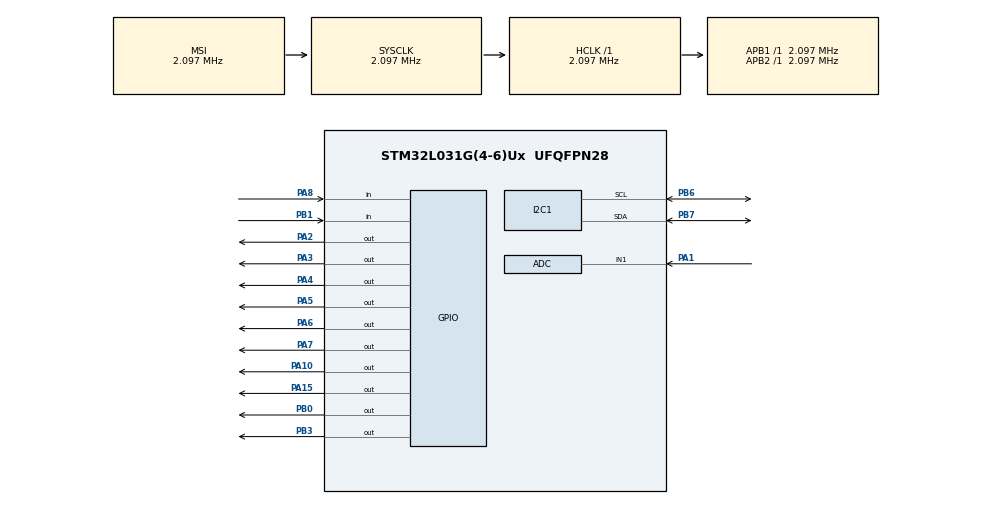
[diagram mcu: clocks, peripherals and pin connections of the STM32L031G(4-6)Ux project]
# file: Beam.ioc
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ADC.ClockPrescaler=ADC_CLOCK_SYNC_PCLK_DIV1
ADC.ContinuousConvMode=ENABLE
ADC.DMAContinuousRequests=DISABLE
ADC.DataAlign=ADC_DATAALIGN_RIGHT
ADC.DiscontinuousConvMode=DISABLE
ADC.EOCSelection=ADC_EOC_SINGLE_CONV
ADC.EnableAnalogWatchDog=false
ADC.ExternalTrigConv=ADC_SOFTWARE_START
ADC.ExternalTrigConvEdge=ADC_EXTERNALTRIGCONVEDGE_NONE
ADC.LowPowerAutoPowerOff=DISABLE
ADC.LowPowerAutoWait=DISABLE
ADC.LowPowerFrequencyMode=DISABLE
ADC.Overrun=ADC_OVR_DATA_PRESERVED
ADC.OversamplingMode=DISABLE
ADC.Resolution=ADC_RESOLUTION_12B
ADC.SamplingTime=ADC_SAMPLETIME_1CYCLE_5
ADC.ScanConvMode=ADC_SCAN_DIRECTION_FORWARD
Mcu.Family=STM32L0
Mcu.Name=STM32L031G(4-6)Ux
Mcu.Package=UFQFPN28
NVIC.ADC1_COMP_IRQn=true\:1\:0\:true\:false\:true\:true
NVIC.TIM2_IRQn=true\:1\:0\:true\:false\:true\:true
PA0-CK_IN.Mode=SYS_WakeUp0
PA0-CK_IN.Signal=SYS_WKUP1
PA1.GPIO_Mode=GPIO_MODE_ANALOG
PA1.GPIO_PuPd=GPIO_NOPULL
PA1.Mode=IN1
PA1.Signal=ADC_IN1
PA10.PinState=GPIO_PIN_SET
PA10.Signal=GPIO_Output
PA13.Mode=Serial_Wire
PA13.Signal=SYS_SWDIO
PA14.Mode=Serial_Wire
PA14.Signal=SYS_SWCLK
PA15.PinState=GPIO_PIN_SET
PA15.Signal=GPIO_Output
PA2.PinState=GPIO_PIN_SET
PA2.Signal=GPIO_Output
PA3.PinState=GPIO_PIN_SET
PA3.Signal=GPIO_Output
PA4.PinState=GPIO_PIN_SET
PA4.Signal=GPIO_Output
PA5.PinState=GPIO_PIN_SET
PA5.Signal=GPIO_Output
PA6.PinState=GPIO_PIN_SET
PA6.Signal=GPIO_Output
PA7.PinState=GPIO_PIN_SET
PA7.Signal=GPIO_Output
PA8.Signal=GPIO_Input
PB0.PinState=GPIO_PIN_SET
PB0.Signal=GPIO_Output
PB1.Signal=GPIO_Input
PB3.PinState=GPIO_PIN_SET
PB3.Signal=GPIO_Output
PB6.GPIO_PuPdOD=GPIO_NOPULL
PB6.Mode=I2C
PB6.Signal=I2C1_SCL
PB7.GPIO_PuPdOD=GPIO_NOPULL
PB7.Mode=I2C
PB7.Signal=I2C1_SDA
ProjectManager.HeapSize=0x200
ProjectManager.StackSize=0x400
ProjectManager.TargetToolchain=SW4STM32
RCC.AHBFreq_Value=2097000
RCC.APB1Freq_Value=2097000
RCC.APB1TimFreq_Value=2097000
RCC.APB2Freq_Value=2097000
RCC.APB2TimFreq_Value=2097000
RCC.HSE_VALUE=8000000
RCC.HSI16_VALUE=16000000
RCC.HSI_VALUE=16000000
RCC.LSE_VALUE=32768
RCC.MSI_VALUE=2097000
RCC.SYSCLKFreq_VALUE=2097000
RCC.VCOOutputFreq_Value=48000000
TIM2.Period=2097-1
TIM2.Prescaler=7500-1
VP_ADC_Vref_Input.Mode=IN-Vrefint
VP_SYS_V_PVD_IN.Mode=Mode_PVD_Int
VP_TIM21_VS_ClockSourceINT.Mode=Internal
VP_TIM2_VS_ClockSourceINT.Mode=Internal
board=custom

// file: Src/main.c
#include "main.h"
#include "stm32l0xx_hal.h"

/* USER CODE BEGIN Includes */
#include <stdbool.h>
#include <math.h>
/* USER CODE END Includes */

ADC_HandleTypeDef hadc;

I2C_HandleTypeDef hi2c1;

TIM_HandleTypeDef htim2;
TIM_HandleTypeDef htim21;

/* USER CODE BEGIN PV */
/* Private variables ---------------------------------------------------------*/
static FLASH_EraseInitTypeDef EraseInitStruct;
/* USER CODE END PV */

void SystemClock_Config(void);
static void MX_GPIO_Init(void);
static void MX_I2C1_Init(void);
static void MX_TIM2_Init(void);
static void MX_ADC_Init(void);
static void MX_TIM21_Init(void);

/* USER CODE BEGIN PFP */
/* Private function prototypes -----------------------------------------------*/
void Flash_Write(uint32_t Flash_Address, uint32_t Flash_Data);
uint32_t Flash_Read(uint32_t Flash_Address);

/* USER CODE END PFP */

/* USER CODE BEGIN 0 */
#define EEPROM_ADDRESS 0x08080000
#define I2C_ADDRESS 0x40
#define PI (3.141592653589793)

#define FLASH_USER_START_ADDR   (0x08080000 )             /* Start @ of user Flash area */
#define FLASH_USER_END_ADDR     (FLASH_USER_START_ADDR + 1023)   /* End @ of user Flash area */

/********************
 * Charging States
 *******************/
#define charging_state 0
#define cleaning_state 1
#define manual_state 2

volatile uint8_t transferDirection, transferRequested;
uint16_t hTxNumData = 0, hRxNumData = 0;

uint32_t Address = 0x08080000, PAGEError = 0;
__IO uint32_t data32 = 0 , MemoryProgramStatus = 0;

int targetDeviceReady = 0;
bool TxEnded = false;
bool RxEnded = false;
bool I2CFound = false;

bool chargeComplete = 0;
bool chargeSatisfactory;

bool ledON = false;

int current_state = 1;

int batteryVoltage;

/************************
 * Register definitions
 ************************/
//register shit
static const uint8_t REG_CONFIG = 0x00;
static const uint8_t REG_CNTRL1 = 0x01;
static const uint8_t REG_CNTRL2 = 0x02;

// LED controller channels
static const uint8_t REG_D0_CTRL = 0x07;
static const uint8_t REG_D1_CTRL = 0x08;
static const uint8_t REG_D2_CTRL = 0x09;
static const uint8_t REG_D3_CTRL = 0x0a;
static const uint8_t REG_D4_CTRL = 0x0b;
static const uint8_t REG_D5_CTRL = 0x0c;
static const uint8_t REG_D6_CTRL = 0x0d;
static const uint8_t REG_D7_CTRL = 0x0e;
static const uint8_t REG_D8_CTRL = 0x0f;

// Direct PWM control registers
static const uint8_t REG_D0_PWM  = 0x16;
static const uint8_t REG_D1_PWM  = 0x17;
static const uint8_t REG_D2_PWM  = 0x18;
static const uint8_t REG_D3_PWM  = 0x19;
static const uint8_t REG_D4_PWM  = 0x1a;
static const uint8_t REG_D5_PWM  = 0x1b;
static const uint8_t REG_D6_PWM  = 0x1c;
static const uint8_t REG_D7_PWM  = 0x1d;
static const uint8_t REG_D8_PWM  = 0x1e;

// Drive current registers
static const uint8_t REG_D0_I_CTL = 0x22;
static const uint8_t REG_D1_I_CTL  = 0x23;
static const uint8_t REG_D2_I_CTL  = 0x24;
static const uint8_t REG_D3_I_CTL  = 0x25;
static const uint8_t REG_D4_I_CTL  = 0x26;
static const uint8_t REG_D5_I_CTL  = 0x27;
static const uint8_t REG_D6_I_CTL  = 0x28;
static const uint8_t REG_D7_I_CTL  = 0x29;
static const uint8_t REG_D8_I_CTL  = 0x2A;

//Charge Pump and friends
static const uint8_t REG_MISC = 0x2F;
static const uint8_t REG_PC1      = 0x30;
static const uint8_t REG_PC2      = 0x31;
static const uint8_t REG_PC3      = 0x32;
static const uint8_t REG_MISC_2 = 0x33;
static const uint8_t REG_STATUS_IRQ = 0x3C;
static const uint8_t REG_INT_GPIO   = 0x3D;
static const uint8_t REG_GLOBAL_VAR = 0x3E;
static const uint8_t REG_RESET      = 0x3F;

static const uint8_t REG_ENGINE_A_VAR = 0x42;
static const uint8_t REG_ENGINE_B_VAR = 0x43;
static const uint8_t REG_ENGINE_C_VAR = 0x44;

static const uint8_t REG_MASTER_FADE_1 = 0x46;
static const uint8_t REG_MASTER_FADE_2 = 0x47;
static const uint8_t REG_MASTER_FADE_3 = 0x48;
static const uint8_t  REG_MASTER_FADE_PWM = 0x4A;

static const uint8_t REG_PROG1_START = 0x4B;
static const uint8_t REG_PROG2_START = 0x4C;
static const uint8_t REG_PROG3_START = 0x4D;
static const uint8_t REG_PROG_PAGE_SEL = 0x4F;

// Memory is more confusing - there are 6 pages, sel by addr 4f
static const uint8_t REG_PROG_MEM_BASE = 0x50;
//static const uint8_t REG_PROG_MEM_SIZE = 0x;//
static const uint8_t REG_PROG_MEM_END  = 0x6f;

static const uint8_t REG_ENG1_MAP_MSB = 0x70;
static const uint8_t REG_ENG1_MAP_LSB = 0x71;
static const uint8_t REG_ENG2_MAP_MSB = 0x72;
static const uint8_t REG_ENG2_MAP_LSB = 0x73;
static const uint8_t REG_ENG3_MAP_MSB = 0x74;
static const uint8_t REG_ENG3_MAP_LSB = 0x75;

static const uint8_t REG_GAIN_CHANGE = 0x76;
static const uint8_t PWM_CONFIG = 0x80;

/********************
 * i2c Buffer address
 *******************/
uint8_t aTxBuffer[2];
uint8_t aRxBuffer[1];
int Run;

bool button = 0;
volatile uint32_t counter = 0;

uint32_t button_processed = 0, lastDebounceTime;

uint32_t minimalTime = 3000;
uint32_t cleanTime = 5000;
int delayTime = 7500;
bool buttonHoldBreak = false;

uint32_t data;

bool buttonPressed = false;
/* USER CODE END 0 */

int main(void)
{

  /* MCU Configuration----------------------------------------------------------*/

  /* Reset of all peripherals, Initializes the Flash interface and the Systick. */
  HAL_Init();

  /* Configure the system clock */
  SystemClock_Config();

  /* USER CODE BEGIN SysInit */
	__HAL_RCC_PWR_CLK_ENABLE();
	HAL_PWREx_EnableUltraLowPower();
	HAL_PWREx_EnableFastWakeUp();
	__HAL_RCC_TIM2_CLK_ENABLE();
	__HAL_RCC_TIM21_CLK_ENABLE();

  /* USER CODE END SysInit */

  /* Initialize all configured peripherals */
  MX_GPIO_Init();
  MX_I2C1_Init();
  MX_TIM2_Init();
  MX_ADC_Init();
  MX_TIM21_Init();
  /* USER CODE BEGIN 2 */
  int countPress = 0;
  buttonHoldBreak = false;
  /* USER CODE END 2 */

  /* Infinite loop */
  /* USER CODE BEGIN WHILE */
  while (1)
  {
	  while (__HAL_PWR_GET_FLAG(PWR_FLAG_SB) != RESET)
	  {
		  /* Clear Standby flag */
		  __HAL_PWR_CLEAR_FLAG(PWR_FLAG_SB);

		  //current_state = Flash_Read(Address);
		  if(isCharging() == 1){
			  current_state = charging_state;
		  }
	  }

	  GPIO_InitTypeDef GPIO_InitStruct;
	  GPIO_InitStruct.Pin = GPIO_PIN_0;
	  GPIO_InitStruct.Mode = GPIO_MODE_INPUT;
	  GPIO_InitStruct.Pull = GPIO_NOPULL;
	  HAL_GPIO_Init(GPIOA, &GPIO_InitStruct);
	  HAL_Delay(10);

	  if((HAL_GPIO_ReadPin(GPIOA, GPIO_PIN_0) == SET)){
		  int startTime = HAL_GetTick();
		  while(((HAL_GetTick() - startTime) < minimalTime+500) && (HAL_GPIO_ReadPin(GPIOA, GPIO_PIN_0) == SET)){
			  if(((HAL_GetTick() - startTime) > minimalTime) && (HAL_GPIO_ReadPin(GPIOA, GPIO_PIN_0) == SET)){
			  			  if(current_state == cleaning_state){
			  				  current_state = manual_state;
			  			  } else if (current_state == manual_state){
			  				  current_state = cleaning_state;
			  			  }
			  			  break;
			  		  }
		  }

	  }

	  switch(current_state){
	  case 0: {
		  int isChargingInt = isCharging();
		  int isChargeSatisfactoryInt = isChargeSatisfactory();

		  //charging
		  if (isChargingInt == 0 & isChargeSatisfactoryInt == 1) {
			  ledOff();
			  Disable();
			  HAL_GPIO_WritePin(GPIOA, GPIO_PIN_4|GPIO_PIN_5|GPIO_PIN_6, GPIO_PIN_RESET);
			  m_disable();
			  led_disable();
			  boost_disable();
			  current_state = cleaning_state;
			  Flash_Write(EEPROM_ADDRESS,current_state);

		  }
		  else if (isChargingInt == 1 && isChargeSatisfactoryInt == 0) {
				  //boost_enable();
				  LED_Enable();
				  ledCharge();
		  }
		  else if (isChargingInt == 1 && isChargeSatisfactoryInt == 1) {
				  ledOff();
				  Disable();
				  HAL_GPIO_WritePin(GPIOA, GPIO_PIN_4|GPIO_PIN_5|GPIO_PIN_6, GPIO_PIN_RESET);
				  m_disable();
				  led_disable();
				  boost_disable();
				  StandbyMode();
				  //Flash_Write(EEPROM_ADDRESS,current_state);
			  }
	  }
	  break;
	  case 1:{
		  //cleaning
//		  GPIO_InitTypeDef GPIO_InitStruct;
//		  GPIO_InitStruct.Pin = GPIO_PIN_0;
//		  GPIO_InitStruct.Mode = GPIO_MODE_INPUT;
//		  GPIO_InitStruct.Pull = GPIO_NOPULL;
//		  HAL_GPIO_Init(GPIOA, &GPIO_InitStruct);
		  int isChargingInt = isCharging();
		  int isChargeSatisfactoryInt = isChargeSatisfactory();

		  if(isChargingInt == 1){
			  current_state = charging_state;
		  }
		  if(isChargeSatisfactoryInt == 0){
			  LED_Enable();
			  redFlickerBeat(255);
		  }
		  if ((HAL_GPIO_ReadPin(GPIOA, GPIO_PIN_0) == SET) && isChargeSatisfactoryInt == 1){
			  int startTime;
			  boost_enable();
			  LED_Enable();
			  for(int i = 0; i < 4; i++){
				  startTime = HAL_GetTick();
				  while((HAL_GetTick() - startTime) < delayTime){

					  loadingAnimationTopCW(90); // replace with direction function for LEDs
					  HAL_GPIO_WritePin(GPIOA, GPIO_PIN_4|GPIO_PIN_5|GPIO_PIN_6, GPIO_PIN_RESET); //Motor reset
					  m_enable();
					  HAL_GPIO_WritePin(GPIOA, GPIO_PIN_4|GPIO_PIN_5|GPIO_PIN_6, GPIO_PIN_SET); //Motor ON
				  }
				  if((HAL_GetTick() - startTime) > delayTime){
					  ledOff();
					  //Disable();
					  HAL_GPIO_WritePin(GPIOA, GPIO_PIN_4|GPIO_PIN_5|GPIO_PIN_6, GPIO_PIN_RESET);
					  m_disable();
					  //led_disable();
					  HAL_Delay(1500);
				  }

			  }
		  }
		  if(HAL_GPIO_ReadPin(GPIOA,GPIO_PIN_0)== RESET ){

			  ledOff();
			  Disable();
			  HAL_GPIO_WritePin(GPIOA, GPIO_PIN_4|GPIO_PIN_5|GPIO_PIN_6, GPIO_PIN_RESET);
			  m_disable();
			  boost_disable();
			  Flash_Write(EEPROM_ADDRESS,current_state);
			  StandbyMode();
		  }
	  }
	  break;
	  case 2:{
		  //manual mode
//		  int startTime = HAL_GetTick();
//		  if(((HAL_GetTick() - startTime) < minimalTime+2000) && (HAL_GPIO_ReadPin(GPIOA, GPIO_PIN_0) == SET)){
//			  //			  if(current_state == cleaning_state){
//			  //				  current_state = manual_state;
//			  //			  }
//			  if(current_state == manual_state){
//				  current_state = cleaning_state;
//			  }
//			  if((HAL_GPIO_ReadPin(GPIOA, GPIO_PIN_0) == SET))
//			  break;
//		  }

		  bool clicked = false;
		  while (HAL_GPIO_ReadPin(GPIOA, GPIO_PIN_0) == RESET ){
			  LED_Enable();
			  ledBreathe2(90,50);
			  //redFlickerBeat(90,0);
			  uint16_t val = getBatteryVoltage();
//			  if(HAL_GPIO_ReadPin(GPIOA, GPIO_PIN_0) == SET){
//			  clicked = true;
//			  break;
//			  }
		  }
		  Flash_Write(EEPROM_ADDRESS,current_state);
				  StandbyMode();

//		  while(clicked == true){
//
//		  }

	  }

	  }
  }

  /* USER CODE END WHILE */

}

void SystemClock_Config(void)
{

  RCC_OscInitTypeDef RCC_OscInitStruct;
  RCC_ClkInitTypeDef RCC_ClkInitStruct;
  RCC_PeriphCLKInitTypeDef PeriphClkInit;

    /**Configure the main internal regulator output voltage
    */
  __HAL_PWR_VOLTAGESCALING_CONFIG(PWR_REGULATOR_VOLTAGE_SCALE1);

    /**Initializes the CPU, AHB and APB busses clocks
    */
  RCC_OscInitStruct.OscillatorType = RCC_OSCILLATORTYPE_MSI;
  RCC_OscInitStruct.MSIState = RCC_MSI_ON;
  RCC_OscInitStruct.MSICalibrationValue = 0;
  RCC_OscInitStruct.MSIClockRange = RCC_MSIRANGE_5;
  RCC_OscInitStruct.PLL.PLLState = RCC_PLL_NONE;
  if (HAL_RCC_OscConfig(&RCC_OscInitStruct) != HAL_OK)
  {
    _Error_Handler(__FILE__, __LINE__);
  }

    /**Initializes the CPU, AHB and APB busses clocks
    */
  RCC_ClkInitStruct.ClockType = RCC_CLOCKTYPE_HCLK|RCC_CLOCKTYPE_SYSCLK
                              |RCC_CLOCKTYPE_PCLK1|RCC_CLOCKTYPE_PCLK2;
  RCC_ClkInitStruct.SYSCLKSource = RCC_SYSCLKSOURCE_MSI;
  RCC_ClkInitStruct.AHBCLKDivider = RCC_SYSCLK_DIV1;
  RCC_ClkInitStruct.APB1CLKDivider = RCC_HCLK_DIV1;
  RCC_ClkInitStruct.APB2CLKDivider = RCC_HCLK_DIV1;

  if (HAL_RCC_ClockConfig(&RCC_ClkInitStruct, FLASH_LATENCY_0) != HAL_OK)
  {
    _Error_Handler(__FILE__, __LINE__);
  }

  PeriphClkInit.PeriphClockSelection = RCC_PERIPHCLK_I2C1;
  PeriphClkInit.I2c1ClockSelection = RCC_I2C1CLKSOURCE_PCLK1;
  if (HAL_RCCEx_PeriphCLKConfig(&PeriphClkInit) != HAL_OK)
  {
    _Error_Handler(__FILE__, __LINE__);
  }

    /**Configure the Systick interrupt time
    */
  HAL_SYSTICK_Config(HAL_RCC_GetHCLKFreq()/1000);

    /**Configure the Systick
    */
  HAL_SYSTICK_CLKSourceConfig(SYSTICK_CLKSOURCE_HCLK);

  /* SysTick_IRQn interrupt configuration */
  HAL_NVIC_SetPriority(SysTick_IRQn, 0, 0);
}

/* ADC init function */
static void MX_ADC_Init(void)
{

  ADC_ChannelConfTypeDef sConfig;

    /**Configure the global features of the ADC (Clock, Resolution, Data Alignment and number of conversion)
    */
  hadc.Instance = ADC1;
  hadc.Init.OversamplingMode = DISABLE;
  hadc.Init.ClockPrescaler = ADC_CLOCK_SYNC_PCLK_DIV1;
  hadc.Init.Resolution = ADC_RESOLUTION_12B;
  hadc.Init.SamplingTime = ADC_SAMPLETIME_1CYCLE_5;
  hadc.Init.ScanConvMode = ADC_SCAN_DIRECTION_FORWARD;
  hadc.Init.DataAlign = ADC_DATAALIGN_RIGHT;
  hadc.Init.ContinuousConvMode = ENABLE;
  hadc.Init.DiscontinuousConvMode = DISABLE;
  hadc.Init.ExternalTrigConvEdge = ADC_EXTERNALTRIGCONVEDGE_NONE;
  hadc.Init.ExternalTrigConv = ADC_SOFTWARE_START;
  hadc.Init.DMAContinuousRequests = DISABLE;
  hadc.Init.EOCSelection = ADC_EOC_SINGLE_CONV;
  hadc.Init.Overrun = ADC_OVR_DATA_PRESERVED;
  hadc.Init.LowPowerAutoWait = DISABLE;
  hadc.Init.LowPowerFrequencyMode = DISABLE;
  hadc.Init.LowPowerAutoPowerOff = DISABLE;
  if (HAL_ADC_Init(&hadc) != HAL_OK)
  {
    _Error_Handler(__FILE__, __LINE__);
  }

    /**Configure for the selected ADC regular channel to be converted.
    */
  sConfig.Channel = ADC_CHANNEL_1;
  sConfig.Rank = ADC_RANK_CHANNEL_NUMBER;
  if (HAL_ADC_ConfigChannel(&hadc, &sConfig) != HAL_OK)
  {
    _Error_Handler(__FILE__, __LINE__);
  }

    /**Configure for the selected ADC regular channel to be converted.
    */
  sConfig.Channel = ADC_CHANNEL_VREFINT;
  if (HAL_ADC_ConfigChannel(&hadc, &sConfig) != HAL_OK)
  {
    _Error_Handler(__FILE__, __LINE__);
  }

}

/* I2C1 init function */
static void MX_I2C1_Init(void)
{

  hi2c1.Instance = I2C1;
  hi2c1.Init.Timing = 0x00000708;
  hi2c1.Init.OwnAddress1 = 0;
  hi2c1.Init.AddressingMode = I2C_ADDRESSINGMODE_7BIT;
  hi2c1.Init.DualAddressMode = I2C_DUALADDRESS_DISABLE;
  hi2c1.Init.OwnAddress2 = 0;
  hi2c1.Init.OwnAddress2Masks = I2C_OA2_NOMASK;
  hi2c1.Init.GeneralCallMode = I2C_GENERALCALL_DISABLE;
  hi2c1.Init.NoStretchMode = I2C_NOSTRETCH_DISABLE;
  if (HAL_I2C_Init(&hi2c1) != HAL_OK)
  {
    _Error_Handler(__FILE__, __LINE__);
  }

    /**Configure Analogue filter
    */
  if (HAL_I2CEx_ConfigAnalogFilter(&hi2c1, I2C_ANALOGFILTER_ENABLE) != HAL_OK)
  {
    _Error_Handler(__FILE__, __LINE__);
  }

    /**Configure Digital filter
    */
  if (HAL_I2CEx_ConfigDigitalFilter(&hi2c1, 0) != HAL_OK)
  {
    _Error_Handler(__FILE__, __LINE__);
  }

}

/* TIM2 init function */
static void MX_TIM2_Init(void)
{

  TIM_ClockConfigTypeDef sClockSourceConfig;
  TIM_MasterConfigTypeDef sMasterConfig;

  htim2.Instance = TIM2;
  htim2.Init.Prescaler = 7500-1;
  htim2.Init.CounterMode = TIM_COUNTERMODE_UP;
  htim2.Init.Period = 2097-1;
  htim2.Init.ClockDivision = TIM_CLOCKDIVISION_DIV1;
  if (HAL_TIM_Base_Init(&htim2) != HAL_OK)
  {
    _Error_Handler(__FILE__, __LINE__);
  }

  sClockSourceConfig.ClockSource = TIM_CLOCKSOURCE_INTERNAL;
  if (HAL_TIM_ConfigClockSource(&htim2, &sClockSourceConfig) != HAL_OK)
  {
    _Error_Handler(__FILE__, __LINE__);
  }

  sMasterConfig.MasterOutputTrigger = TIM_TRGO_RESET;
  sMasterConfig.MasterSlaveMode = TIM_MASTERSLAVEMODE_DISABLE;
  if (HAL_TIMEx_MasterConfigSynchronization(&htim2, &sMasterConfig) != HAL_OK)
  {
    _Error_Handler(__FILE__, __LINE__);
  }

}

/* TIM21 init function */
static void MX_TIM21_Init(void)
{

  TIM_ClockConfigTypeDef sClockSourceConfig;
  TIM_MasterConfigTypeDef sMasterConfig;

  htim21.Instance = TIM21;
  htim21.Init.Prescaler = 0;
  htim21.Init.CounterMode = TIM_COUNTERMODE_UP;
  htim21.Init.Period = 0;
  htim21.Init.ClockDivision = TIM_CLOCKDIVISION_DIV1;
  if (HAL_TIM_Base_Init(&htim21) != HAL_OK)
  {
    _Error_Handler(__FILE__, __LINE__);
  }

  sClockSourceConfig.ClockSource = TIM_CLOCKSOURCE_INTERNAL;
  if (HAL_TIM_ConfigClockSource(&htim21, &sClockSourceConfig) != HAL_OK)
  {
    _Error_Handler(__FILE__, __LINE__);
  }

  sMasterConfig.MasterOutputTrigger = TIM_TRGO_RESET;
  sMasterConfig.MasterSlaveMode = TIM_MASTERSLAVEMODE_DISABLE;
  if (HAL_TIMEx_MasterConfigSynchronization(&htim21, &sMasterConfig) != HAL_OK)
  {
    _Error_Handler(__FILE__, __LINE__);
  }

}

/** Configure pins as
        * Analog
        * Input
        * Output
        * EVENT_OUT
        * EXTI
*/
static void MX_GPIO_Init(void)
{

  GPIO_InitTypeDef GPIO_InitStruct;

  /* GPIO Ports Clock Enable */
  __HAL_RCC_GPIOA_CLK_ENABLE();
  __HAL_RCC_GPIOB_CLK_ENABLE();

  /*Configure GPIO pin Output Level */
  HAL_GPIO_WritePin(GPIOA, GPIO_PIN_2|GPIO_PIN_3|GPIO_PIN_4|GPIO_PIN_5
                          |GPIO_PIN_6|GPIO_PIN_7|GPIO_PIN_10|GPIO_PIN_15, GPIO_PIN_SET);

  /*Configure GPIO pin Output Level */
  HAL_GPIO_WritePin(GPIOB, GPIO_PIN_0|GPIO_PIN_3, GPIO_PIN_SET);

  /*Configure GPIO pins : PA2 PA3 PA4 PA5
                           PA6 PA7 PA10 PA15 */
  GPIO_InitStruct.Pin = GPIO_PIN_2|GPIO_PIN_3|GPIO_PIN_4|GPIO_PIN_5
                          |GPIO_PIN_6|GPIO_PIN_7|GPIO_PIN_10|GPIO_PIN_15;
  GPIO_InitStruct.Mode = GPIO_MODE_OUTPUT_PP;
  GPIO_InitStruct.Pull = GPIO_NOPULL;
  GPIO_InitStruct.Speed = GPIO_SPEED_FREQ_LOW;
  HAL_GPIO_Init(GPIOA, &GPIO_InitStruct);

  /*Configure GPIO pins : PB0 PB3 */
  GPIO_InitStruct.Pin = GPIO_PIN_0|GPIO_PIN_3;
  GPIO_InitStruct.Mode = GPIO_MODE_OUTPUT_PP;
  GPIO_InitStruct.Pull = GPIO_NOPULL;
  GPIO_InitStruct.Speed = GPIO_SPEED_FREQ_LOW;
  HAL_GPIO_Init(GPIOB, &GPIO_InitStruct);

  /*Configure GPIO pin : PB1 */
  GPIO_InitStruct.Pin = GPIO_PIN_1;
  GPIO_InitStruct.Mode = GPIO_MODE_INPUT;
  GPIO_InitStruct.Pull = GPIO_NOPULL;
  HAL_GPIO_Init(GPIOB, &GPIO_InitStruct);

  /*Configure GPIO pin : PA8 */
  GPIO_InitStruct.Pin = GPIO_PIN_8;
  GPIO_InitStruct.Mode = GPIO_MODE_INPUT;
  GPIO_InitStruct.Pull = GPIO_NOPULL;
  HAL_GPIO_Init(GPIOA, &GPIO_InitStruct);

}

/* USER CODE BEGIN 4 */
void Flash_Write(uint32_t Flash_Address, uint32_t DATA_32){
	HAL_FLASH_Unlock();

	Address = FLASH_USER_START_ADDR;
	EraseInitStruct.TypeErase   = FLASH_TYPEERASE_PAGES;
	EraseInitStruct.PageAddress = FLASH_USER_START_ADDR;
	EraseInitStruct.NbPages     = (FLASH_USER_END_ADDR - FLASH_USER_START_ADDR) / FLASH_PAGE_SIZE;

	HAL_FLASHEx_Erase(&EraseInitStruct, &PAGEError);

	while (Address < FLASH_USER_END_ADDR)
	{
		if (HAL_FLASH_Program(FLASH_TYPEPROGRAM_WORD, Address, DATA_32) == HAL_OK)
		{
			Address = Address + 4;
		}
		HAL_FLASH_Lock();
	}
}

uint32_t Flash_Read(uint32_t Flash_Address)
{
	uint32_t Flash_Data;
	Flash_Data = *(uint32_t*) Flash_Address;
	return Flash_Data;
}

void HAL_SYSTICK_Callback(void)
{
	HAL_IncTick();
}

GPIO_IRQ_HANDLER(void){
	lastDebounceTime = HAL_GetTick();
	button_processed = 0;
}

void cleanTeeth(void){
	m_enable();
}

int isChargeSatisfactory(){
	int val = getBatteryVoltage();
	//batteryMeasureDisable();
	if(val > 200){
		return 1;
	}
	else{
		return 0;
	}
}

void m_enable(void){
	HAL_GPIO_WritePin(GPIOA, GPIO_PIN_7, GPIO_PIN_SET);
}

void m_disable(void){
	HAL_GPIO_WritePin(GPIOA, GPIO_PIN_7, GPIO_PIN_RESET);
}

void led_enable(void){
	HAL_GPIO_WritePin(GPIOB, GPIO_PIN_3, GPIO_PIN_SET);
}

void led_disable(void){
	HAL_GPIO_WritePin(GPIOB, GPIO_PIN_3, GPIO_PIN_RESET);
}

void boost_enable(void){
	HAL_GPIO_WritePin(GPIOA, GPIO_PIN_2, GPIO_PIN_SET);
}

void boost_disable(void){
	HAL_GPIO_WritePin(GPIOA, GPIO_PIN_2, GPIO_PIN_RESET);
}

void batteryMeasureEnable(void){
	HAL_GPIO_WritePin(GPIOA, GPIO_PIN_3, GPIO_PIN_SET);
}
void batteryMeasureDisable(void){
	HAL_GPIO_WritePin(GPIOA, GPIO_PIN_3, GPIO_PIN_RESET);
}

int isCharging(void){
	if(HAL_GPIO_ReadPin(GPIOA,GPIO_PIN_8) == RESET){
		return 1;
	}
	else if(HAL_GPIO_ReadPin(GPIOA,GPIO_PIN_8) == SET){
		return 0;
	}
}

void ADC_IRQHandler(void) {
	HAL_ADC_IRQHandler(&hadc);
}

int getBatteryVoltage(){
	batteryMeasureEnable();
	HAL_ADC_Start(&hadc);
	HAL_ADC_PollForConversion(&hadc, 1000);
	uint16_t batteryVoltage = HAL_ADC_GetValue(&hadc);
	//do something in between
	uint16_t val = batteryVoltage;
	HAL_ADC_Stop(&hadc);
	return val;
}

void StandbyMode(void){
	//HAL_DBGMCU_EnableDBGStandbyMode();
	//MX_GPIO_Deinit();
	/* This procedure come from the STM32F030 Errata sheet*/
	//	HAL_GPIO_WritePin(GPIOA, GPIO_PIN_10, GPIO_PIN_SET);
	//	HAL_GPIO_WritePin(GPIOA, GPIO_PIN_15, GPIO_PIN_SET);
	//	m_disable();
	//	led_disable();
	//	boost_disable();
	//	batteryMeasureDisable();
	//__HAL_RCC_PWR_CLK_ENABLE();
	HAL_PWR_DisableWakeUpPin(PWR_WAKEUP_PIN1);
	/* Clear PWR wake up Flag */
	__HAL_PWR_CLEAR_FLAG(PWR_FLAG_WU);
	/* Enable WKUP pin */
	HAL_PWR_EnableWakeUpPin(PWR_WAKEUP_PIN1);
	HAL_PWR_EnterSTANDBYMode();
}

void MX_GPIO_Deinit(void){
	GPIO_InitTypeDef GPIO_InitStruct;

	/* Configure all GPIO as analog to reduce current consumption on non used IOs */
	/* Enable GPIOs clock */
	/* Warning : Reconfiguring all GPIO will close the connection with the debugger */
	__HAL_RCC_GPIOA_CLK_ENABLE();
	__HAL_RCC_GPIOB_CLK_ENABLE();
	__HAL_RCC_GPIOC_CLK_ENABLE();

	GPIO_InitStruct.Mode = GPIO_MODE_ANALOG;
	GPIO_InitStruct.Speed = GPIO_SPEED_FREQ_HIGH;
	GPIO_InitStruct.Pull = GPIO_NOPULL;
	GPIO_InitStruct.Pin = GPIO_PIN_All;
	HAL_GPIO_Init(GPIOA, &GPIO_InitStruct);
	HAL_GPIO_Init(GPIOB, &GPIO_InitStruct);
	HAL_GPIO_Init(GPIOC, &GPIO_InitStruct);

	/* Disable GPIOs clock */
	__HAL_RCC_GPIOA_CLK_DISABLE();
	__HAL_RCC_GPIOB_CLK_DISABLE();
	__HAL_RCC_GPIOC_CLK_DISABLE();
}

void writeReg(uint8_t MemAddress, uint8_t pData){
	uint8_t aTxBuff[2] = {MemAddress, pData};
	HAL_I2C_Master_Transmit(&hi2c1, (uint16_t)I2C_ADDRESS<<1, aTxBuff,2,100);
}

void readReg(uint16_t* const MemAddress, uint8_t *pData){
	while(HAL_I2C_Master_Transmit_IT(&hi2c1, (uint16_t)I2C_ADDRESS<<1, *MemAddress,1) != HAL_OK){
		if (HAL_I2C_GetError(&hi2c1) != HAL_I2C_ERROR_AF)
		{
			Error_Handler();
		}
	}
	while(!TxEnded){
	}
	TxEnded = false;

	while(HAL_I2C_Master_Receive_IT(&hi2c1, (uint16_t)I2C_ADDRESS<<1, *pData, 1) != HAL_OK)
	{
		if (HAL_I2C_GetError(&hi2c1) != HAL_I2C_ERROR_AF)
		{
			Error_Handler();
		}
	}
	while(!RxEnded){
	}
	RxEnded = false;
}

void LED_Enable(void){
	//enable
	led_enable();
	writeReg(REG_CONFIG, 0x40);
	writeReg(REG_MISC,0x50);
}

void Disable(void){
	writeReg(REG_CONFIG,0x00);
	led_disable();
}

void delay_ms(uint32_t t) {
	__HAL_TIM_SetCounter(&htim2, 0);
	HAL_TIM_Base_Start(&htim2);
	while(__HAL_TIM_GetCounter(&htim2)< t);
	HAL_TIM_Base_Stop(&htim2);
}

void loadingAnimationTopCW(uint16_t brightness){
	//writeReg(REG_D6_PWM, brightness);
	uint8_t led0 = REG_D0_PWM;
	uint8_t led1 = REG_D1_PWM;
	uint8_t led2 = REG_D2_PWM;
	uint8_t led3 = REG_D4_PWM;
	uint8_t led4 = REG_D5_PWM;
	uint8_t led5 = REG_D8_PWM;
	int val1, val2;
	uint32_t delay_time = 100;
	val1 = brightness;
	val2 = brightness -50;
	writeReg(led0, val1);
	writeReg(led1, 0);
	writeReg(led2, 0);
	writeReg(led3, 0);
	writeReg(led4, 0);
	writeReg(led5, 0);
	HAL_Delay(delay_time);
	writeReg(led0, 0);
	writeReg(led1, val1);
	writeReg(led2, 0);
	writeReg(led3, 0);
	writeReg(led4, 0);
	writeReg(led5, 0);
	HAL_Delay(delay_time);
	writeReg(led0, 0);
	writeReg(led1, 0);
	writeReg(led2, val1);
	writeReg(led3, 0);
	writeReg(led4, 0);
	writeReg(led5, 0);
	HAL_Delay(delay_time);
	writeReg(led0, 0);
	writeReg(led1, 0);
	writeReg(led2, 0);
	writeReg(led3, val1);
	writeReg(led4, 0);
	writeReg(led5, 0);
	HAL_Delay(delay_time);
	writeReg(led0, 0);
	writeReg(led1, 0);
	writeReg(led2, 0);
	writeReg(led3, 0);
	writeReg(led4, val1);
	writeReg(led5, 0);
	HAL_Delay(delay_time);
	writeReg(led0, 0);
	writeReg(led1, 0);
	writeReg(led2, 0);
	writeReg(led3, 0);
	writeReg(led4, 0);
	writeReg(led5, val1);
	HAL_Delay(delay_time);
}

void loadingAnimationTopCCW(uint16_t brightness){
	uint8_t led0 = REG_D0_PWM;
	uint8_t led1 = REG_D1_PWM;
	uint8_t led2 = REG_D2_PWM;
	uint8_t led3 = REG_D4_PWM;
	uint8_t led4 = REG_D5_PWM;
	uint8_t led5 = REG_D8_PWM;
	int val1, val2;
	val1 = brightness;
	val2 = brightness -50;

	writeReg(led4, val1);
	writeReg(led5, val2);
	HAL_Delay(100);
	writeReg(led5, 0);
	writeReg(led4, val2);
	writeReg(led3,val1);
	HAL_Delay(100);
	writeReg(led4, 0);
	writeReg(led3, val2);
	writeReg(led2, val1);
	HAL_Delay(100);
	writeReg(led3,0);
	writeReg(led2, val2);
	writeReg(led1, val1);
	HAL_Delay(100);
	writeReg(led2, 0);
	writeReg(led1, val2);
	writeReg(led0, val1);
	HAL_Delay(100);
	writeReg(led1, 0);
	writeReg(led0, val2);
	writeReg(led5, val1);
	HAL_Delay(100);
	writeReg(led0, 0);
	writeReg(led5, 0);
	//delay_ms(50);
}

void ledOff(void){
	writeReg(REG_D0_PWM, 0);
	writeReg(REG_D1_PWM, 0);
	writeReg(REG_D2_PWM, 0);
	writeReg(REG_D3_PWM, 0);
	writeReg(REG_D4_PWM, 0);
	writeReg(REG_D5_PWM, 0);
	writeReg(REG_D6_PWM, 0);
	writeReg(REG_D7_PWM, 0);
	writeReg(REG_D8_PWM, 0);
}

void ledCharge(void){
	writeReg(REG_D0_PWM, 0);
	writeReg(REG_D1_PWM, 0);
	writeReg(REG_D2_PWM, 0);
	writeReg(REG_D3_PWM, 255);
	writeReg(REG_D4_PWM, 0);
	writeReg(REG_D5_PWM, 0);
	writeReg(REG_D6_PWM, 0);
	writeReg(REG_D7_PWM, 0);
	writeReg(REG_D8_PWM, 0);
}

void redFlickerBeat(int maxVal){
	int count = 0;
	while(count < 5){
	writeReg(REG_D3_PWM, maxVal);
	HAL_Delay(75);
	writeReg(REG_D3_PWM, 0);
	count++;
	}

	HAL_Delay(150);
}

void ledBreathe(int maxVal, int delayTime){
	ledOff();
	float LED_brightness;
	int count = 0;
	while(count < 1){
		for(int i = 0; i < 255; i++){
			LED_brightness = (exp(sin(PI/2*i)) - 0.36787944)*108.0;
		}
		writeReg(REG_D0_PWM, 0);
		writeReg(REG_D1_PWM, 0);
		writeReg(REG_D2_PWM, LED_brightness);
		writeReg(REG_D3_PWM, 0);
		writeReg(REG_D4_PWM, 0);
		writeReg(REG_D5_PWM, 0);
		writeReg(REG_D6_PWM, 0);
		writeReg(REG_D7_PWM, 0);
		writeReg(REG_D8_PWM, 0);
		HAL_Delay(delayTime);
		writeReg(REG_D0_PWM, 0);
		writeReg(REG_D1_PWM, LED_brightness);
		writeReg(REG_D2_PWM, LED_brightness);
		writeReg(REG_D3_PWM, 0);
		writeReg(REG_D4_PWM, LED_brightness);
		writeReg(REG_D5_PWM, 0);
		writeReg(REG_D6_PWM, 0);
		writeReg(REG_D7_PWM, 0);
		writeReg(REG_D8_PWM, 0);
		HAL_Delay(delayTime);
		writeReg(REG_D0_PWM, LED_brightness);
		writeReg(REG_D1_PWM, LED_brightness);
		writeReg(REG_D2_PWM, LED_brightness);
		writeReg(REG_D3_PWM, 0);
		writeReg(REG_D4_PWM, LED_brightness);
		writeReg(REG_D5_PWM, LED_brightness);
		writeReg(REG_D6_PWM, 0);
		writeReg(REG_D7_PWM, 0);
		writeReg(REG_D8_PWM, 0);
		HAL_Delay(delayTime);
		writeReg(REG_D0_PWM, LED_brightness);
		writeReg(REG_D1_PWM, LED_brightness);
		writeReg(REG_D2_PWM, LED_brightness);
		writeReg(REG_D3_PWM, 0);
		writeReg(REG_D4_PWM, LED_brightness);
		writeReg(REG_D5_PWM, LED_brightness);
		writeReg(REG_D6_PWM, 0);
		writeReg(REG_D7_PWM, 0);
		writeReg(REG_D8_PWM, LED_brightness);
		HAL_Delay(delayTime);

		HAL_Delay(500);

		writeReg(REG_D0_PWM, LED_brightness);
		writeReg(REG_D1_PWM, LED_brightness);
		writeReg(REG_D2_PWM, LED_brightness);
		writeReg(REG_D3_PWM, 0);
		writeReg(REG_D4_PWM, LED_brightness);
		writeReg(REG_D5_PWM, LED_brightness);
		writeReg(REG_D6_PWM, 0);
		writeReg(REG_D7_PWM, 0);
		writeReg(REG_D8_PWM, 0);
		HAL_Delay(delayTime);
		writeReg(REG_D0_PWM, 0);
		writeReg(REG_D1_PWM, LED_brightness);
		writeReg(REG_D2_PWM, LED_brightness);
		writeReg(REG_D3_PWM, 0);
		writeReg(REG_D4_PWM, LED_brightness);
		writeReg(REG_D5_PWM, 0);
		writeReg(REG_D6_PWM, 0);
		writeReg(REG_D7_PWM, 0);
		writeReg(REG_D8_PWM, 0);
		HAL_Delay(delayTime);
		writeReg(REG_D0_PWM, 0);
		writeReg(REG_D1_PWM, 0);
		writeReg(REG_D2_PWM, LED_brightness);
		writeReg(REG_D3_PWM, 0);
		writeReg(REG_D4_PWM, 0);
		writeReg(REG_D5_PWM, 0);
		writeReg(REG_D6_PWM, 0);
		writeReg(REG_D7_PWM, 0);
		writeReg(REG_D8_PWM, 0);
		HAL_Delay(delayTime);
		writeReg(REG_D0_PWM, 0);
		writeReg(REG_D1_PWM, 0);
		writeReg(REG_D2_PWM, 0);
		writeReg(REG_D3_PWM, 0);
		writeReg(REG_D4_PWM, 0);
		writeReg(REG_D5_PWM, 0);
		writeReg(REG_D6_PWM, 0);
		writeReg(REG_D7_PWM, 0);
		writeReg(REG_D8_PWM, 0);

	}
	count++;
	ledOff();
}

int millis(uint32_t t){
	__HAL_TIM_SetCounter(&htim21, 0);
	HAL_TIM_Base_Start(&htim21);
	while(__HAL_TIM_GetCounter(&htim21) < t);
	return __HAL_TIM_GetCounter(&htim21);
	HAL_TIM_Base_Stop(&htim21);
}

void ledBreathe2(int maxVal, int delayTime){
	ledOff();
	int LED_brightness;
	int count = 0;
	while(count < 1){
		LED_brightness = maxVal;

		writeReg(REG_D0_PWM, 0);
		writeReg(REG_D1_PWM, 0);
		writeReg(REG_D2_PWM, LED_brightness);
		writeReg(REG_D3_PWM, 0);
		writeReg(REG_D4_PWM, 0);
		writeReg(REG_D5_PWM, 0);
		writeReg(REG_D6_PWM, 0);
		writeReg(REG_D7_PWM, 0);
		writeReg(REG_D8_PWM, 0);
		delay_ms(delayTime);
		writeReg(REG_D0_PWM, 0);
		writeReg(REG_D1_PWM, LED_brightness);
		writeReg(REG_D2_PWM, LED_brightness);
		writeReg(REG_D3_PWM, 0);
		writeReg(REG_D4_PWM, LED_brightness);
		writeReg(REG_D5_PWM, 0);
		writeReg(REG_D6_PWM, 0);
		writeReg(REG_D7_PWM, 0);
		writeReg(REG_D8_PWM, 0);
		delay_ms(delayTime);
		writeReg(REG_D0_PWM, LED_brightness);
		writeReg(REG_D1_PWM, LED_brightness);
		writeReg(REG_D2_PWM, LED_brightness);
		writeReg(REG_D3_PWM, 0);
		writeReg(REG_D4_PWM, LED_brightness);
		writeReg(REG_D5_PWM, LED_brightness);
		writeReg(REG_D6_PWM, 0);
		writeReg(REG_D7_PWM, 0);
		writeReg(REG_D8_PWM, 0);
		delay_ms(delayTime);
		writeReg(REG_D0_PWM, LED_brightness);
		writeReg(REG_D1_PWM, LED_brightness);
		writeReg(REG_D2_PWM, LED_brightness);
		writeReg(REG_D3_PWM, 0);
		writeReg(REG_D4_PWM, LED_brightness);
		writeReg(REG_D5_PWM, LED_brightness);
		writeReg(REG_D6_PWM, 0);
		writeReg(REG_D7_PWM, 0);
		writeReg(REG_D8_PWM, LED_brightness);
		delay_ms(delayTime+100);

		writeReg(REG_D0_PWM, LED_brightness);
		writeReg(REG_D1_PWM, LED_brightness);
		writeReg(REG_D2_PWM, LED_brightness);
		writeReg(REG_D3_PWM, 0);
		writeReg(REG_D4_PWM, LED_brightness);
		writeReg(REG_D5_PWM, LED_brightness);
		writeReg(REG_D6_PWM, 0);
		writeReg(REG_D7_PWM, 0);
		writeReg(REG_D8_PWM, 0);
		delay_ms(delayTime);
		writeReg(REG_D0_PWM, 0);
		writeReg(REG_D1_PWM, LED_brightness);
		writeReg(REG_D2_PWM, LED_brightness);
		writeReg(REG_D3_PWM, 0);
		writeReg(REG_D4_PWM, LED_brightness);
		writeReg(REG_D5_PWM, 0);
		writeReg(REG_D6_PWM, 0);
		writeReg(REG_D7_PWM, 0);
		writeReg(REG_D8_PWM, 0);
		delay_ms(delayTime);
		writeReg(REG_D0_PWM, 0);
		writeReg(REG_D1_PWM, 0);
		writeReg(REG_D2_PWM, LED_brightness);
		writeReg(REG_D3_PWM, 0);
		writeReg(REG_D4_PWM, 0);
		writeReg(REG_D5_PWM, 0);
		writeReg(REG_D6_PWM, 0);
		writeReg(REG_D7_PWM, 0);
		writeReg(REG_D8_PWM, 0);
		delay_ms(delayTime);
		writeReg(REG_D0_PWM, 0);
		writeReg(REG_D1_PWM, 0);
		writeReg(REG_D2_PWM, 0);
		writeReg(REG_D3_PWM, 0);
		writeReg(REG_D4_PWM, 0);
		writeReg(REG_D5_PWM, 0);
		writeReg(REG_D6_PWM, 0);
		writeReg(REG_D7_PWM, 0);
		writeReg(REG_D8_PWM, 0);
		delay_ms(delayTime);
		count++;
	}

}

void HAL_I2C_MasterTxCpltCallback(I2C_HandleTypeDef *I2cHandle) {
	TxEnded = true;
	I2cHandle->State = HAL_I2C_STATE_READY;

}

void HAL_I2C_MasterRxCpltCallback(I2C_HandleTypeDef *I2cHandle) {
	RxEnded = true;
	I2cHandle->State = HAL_I2C_STATE_READY;

}

void HAL_TIM_PeriodElapsedCallback(TIM_HandleTypeDef *htim)
{
	HAL_GPIO_WritePin(GPIOA, GPIO_PIN_4|GPIO_PIN_5|GPIO_PIN_6, GPIO_PIN_RESET);
	m_disable();
	Disable();
	__HAL_TIM_SetCounter(&htim2, 0);
	//HAL_TIM_Base_Stop_IT(&htim2);
}

/* USER CODE END 4 */

void _Error_Handler(char *file, int line)
{
	while(1)
	{
	}
}

/************************ (C) COPYRIGHT STMicroelectronics *****END OF FILE****/
